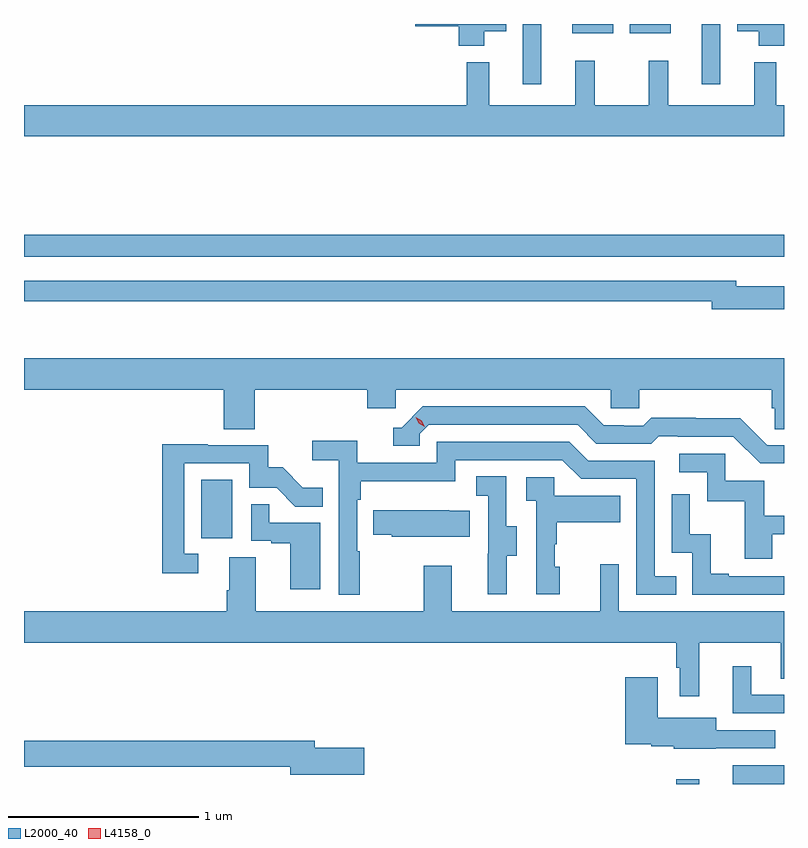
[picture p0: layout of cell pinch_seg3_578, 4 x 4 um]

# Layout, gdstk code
import gdstk
lib = gdstk.Library(unit=1e-6, precision=1e-09)
def R(c, l, rs):  # rectangles x0, y0, x1, y1
    for r in rs: c.add(gdstk.rectangle(r[:2], r[2:], *l))
def P(c, l, *ps):  # polygons
    for p in ps: c.add(gdstk.Polygon(p, *l))
L2000_40 = (2000, 40)
L4158_0 = (4158, 0)

pinch_seg3_578 = lib.new_cell('pinch_seg3_578')
R(pinch_seg3_578, L2000_40, [(1024.74,690.848,1024.861,690.874), (1025.036,690.848,1025.307,690.946), (1022.24,692.142,1022.404,692.449), (1023.933,694.53,1024.03,694.848), (1024.874,694.53,1024.971,694.848), (1024.193,694.799,1024.408,694.848), (1024.496,694.799,1024.711,694.848)])
P(pinch_seg3_578, L2000_40, [(1025.307,694.848),(1025.06,694.848),(1025.06,694.811),(1025.174,694.811),(1025.174,694.733),(1025.307,694.733)],
  [(1023.73,694.811),(1023.844,694.811),(1023.844,694.848),(1023.366,694.848),(1023.366,694.837),(1023.596,694.837),(1023.596,694.733),(1023.73,694.733)],
  [(1025.307,694.42),(1025.267,694.42),(1025.267,694.648),(1025.15,694.648),(1025.15,694.42),(1024.697,694.42),(1024.697,694.654),(1024.594,694.654),(1024.594,694.42),(1024.31,694.42),(1024.31,694.654),(1024.208,694.654),(1024.208,694.42),(1023.755,694.42),(1023.755,694.648),(1023.637,694.648),(1023.637,694.42),(1021.307,694.42),(1021.307,694.256),(1025.307,694.256)],
  [(1025.307,693.74),(1021.307,693.74),(1021.307,693.624),(1025.152,693.624),(1025.152,693.623),(1025.307,693.623)],
  [(1025.307,693.469),(1025.056,693.469),(1025.056,693.498),(1021.307,693.498),(1021.307,693.39),(1024.928,693.39),(1024.928,693.347),(1025.307,693.347)],
  [(1022.522,692.924),(1023.113,692.924),(1023.113,692.826),(1023.264,692.826),(1023.264,692.924),(1024.395,692.924),(1024.395,692.826),(1024.545,692.826),(1024.545,692.924),(1025.243,692.924),(1025.243,692.826),(1025.257,692.826),(1025.257,692.716),(1025.307,692.716),(1025.307,693.088),(1021.307,693.088),(1021.307,692.924),(1022.357,692.924),(1022.357,692.716),(1022.522,692.716)],
  [(1025.307,692.631),(1025.22,692.631),(1025.078,692.773),(1024.842,692.773),(1024.842,692.776),(1024.609,692.776),(1024.567,692.733),(1024.464,692.733),(1024.464,692.736),(1024.357,692.736),(1024.258,692.835),(1023.405,692.835),(1023.294,692.724),(1023.251,692.724),(1023.251,692.628),(1023.39,692.628),(1023.39,692.691),(1023.438,692.739),(1024.221,692.739),(1024.32,692.64),(1024.609,692.64),(1024.648,692.679),(1024.747,692.679),(1024.747,692.676),(1025.04,692.676),(1025.181,692.535),(1025.307,692.535)],
  [(1023.073,692.072),(1023.06,692.072),(1023.06,692.345),(1023.08,692.345),(1023.08,692.441),(1023.576,692.441),(1023.576,692.553),(1024.14,692.553),(1024.239,692.454),(1024.53,692.454),(1024.53,691.845),(1024.739,691.845),(1024.739,691.941),(1024.626,691.941),(1024.626,692.55),(1024.276,692.55),(1024.177,692.649),(1023.48,692.649),(1023.48,692.538),(1023.062,692.538),(1023.062,692.654),(1022.823,692.654),(1022.823,692.552),(1022.964,692.552),(1022.964,691.845),(1023.073,691.845)],
  [(1022.224,692.061),(1022.151,692.061),(1022.151,692.535),(1022.493,692.535),(1022.493,692.406),(1022.637,692.406),(1022.735,692.308),(1022.879,692.308),(1022.879,692.407),(1022.775,692.407),(1022.668,692.514),(1022.592,692.514),(1022.592,692.631),(1022.273,692.631),(1022.273,692.636),(1022.035,692.636),(1022.035,691.956),(1022.224,691.956)],
  [(1025.245,692.163),(1025.307,692.163),(1025.307,692.259),(1025.203,692.259),(1025.203,692.445),(1024.998,692.445),(1024.998,692.586),(1024.755,692.586),(1024.755,692.49),(1024.902,692.49),(1024.902,692.337),(1025.101,692.337),(1025.101,692.034),(1025.245,692.034)],
  [(1023.847,692.05),(1023.901,692.05),(1023.901,692.205),(1023.846,692.205),(1023.846,692.468),(1023.687,692.468),(1023.687,692.365),(1023.75,692.365),(1023.75,692.061),(1023.749,692.061),(1023.749,691.848),(1023.847,691.848)],
  [(1024.126,691.992),(1024.101,691.992),(1024.101,692.111),(1024.111,692.111),(1024.111,692.225),(1024.445,692.225),(1024.445,692.365),(1024.098,692.365),(1024.098,692.463),(1023.951,692.463),(1023.951,692.339),(1024.002,692.339),(1024.002,691.848),(1024.126,691.848)],
  [(1025.307,691.941),(1025.017,691.941),(1025.017,691.954),(1024.922,691.954),(1024.922,692.162),(1024.812,692.162),(1024.812,692.374),(1024.716,692.374),(1024.716,692.064),(1024.824,692.064),(1024.824,691.845),(1025.307,691.845)],
  [(1022.866,692.223),(1022.597,692.223),(1022.597,692.321),(1022.502,692.321),(1022.502,692.127),(1022.609,692.127),(1022.609,692.115),(1022.708,692.115),(1022.708,691.872),(1022.866,691.872)],
  [(1023.653,692.287),(1023.545,692.287),(1023.545,692.29),(1023.145,692.29),(1023.145,692.161),(1023.243,692.161),(1023.243,692.15),(1023.653,692.15)],
  [(1024.861,691.592),(1025.291,691.592),(1025.291,691.402),(1025.307,691.402),(1025.307,691.756),(1024.437,691.756),(1024.437,692.005),(1024.34,692.005),(1024.34,691.756),(1023.559,691.756),(1023.559,691.996),(1023.412,691.996),(1023.412,691.756),(1022.527,691.756),(1022.527,692.042),(1022.387,692.042),(1022.387,691.868),(1022.375,691.868),(1022.375,691.756),(1021.307,691.756),(1021.307,691.592),(1024.74,691.592),(1024.74,691.46),(1024.757,691.46),(1024.757,691.311),(1024.861,691.311)],
  [(1025.307,691.317),(1025.134,691.317),(1025.134,691.468),(1025.036,691.468),(1025.036,691.221),(1025.307,691.221)],
  [(1024.947,691.035),(1025.26,691.035),(1025.26,691.131),(1024.951,691.131),(1024.951,691.198),(1024.642,691.198),(1024.642,691.411),(1024.472,691.411),(1024.472,691.058),(1024.608,691.058),(1024.608,691.046),(1024.728,691.046),(1024.728,691.034),(1024.947,691.034)],
  [(1023.097,691.04),(1022.836,691.04),(1022.836,691.076),(1021.307,691.076),(1021.307,690.94),(1022.708,690.94),(1022.708,690.898),(1023.097,690.898)])
P(pinch_seg3_578, L4158_0, [(1023.416,692.727),(1023.385,692.746),(1023.369,692.778),(1023.369,692.779),(1023.369,692.779),(1023.4,692.759),(1023.416,692.727),(1023.416,692.727)])

lib.write_gds('pinch_seg3_578.gds')
